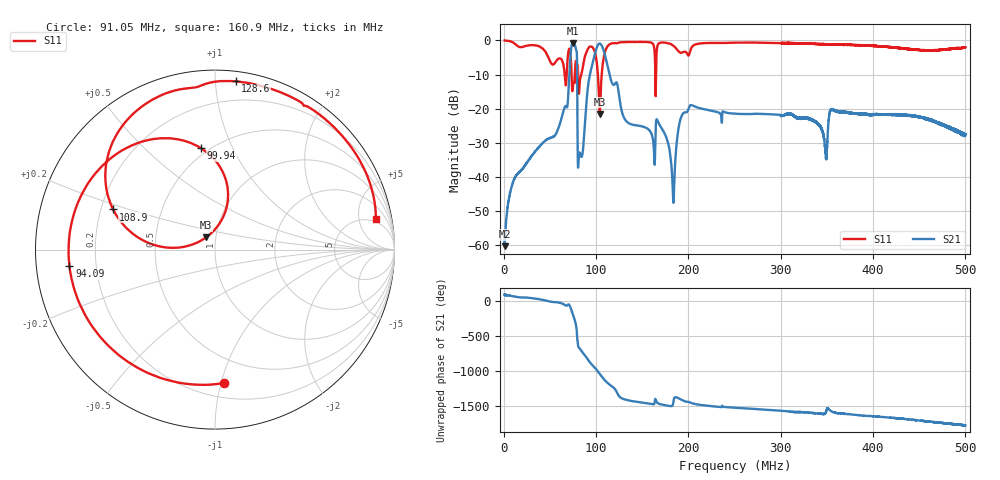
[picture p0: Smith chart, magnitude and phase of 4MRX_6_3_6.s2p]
! NanoVNA-App
! Date: 2026-08-19 15:04:34
! Start: 1MHz Stop: 500MHz Points: 6401
! S-Parameter data: F S11 S21 S12 S22
# Hz S RI R 50
!  Frequency  S11_Real  S11_Imag  S21_Real  S21_Imag  S12_Real  S12_Imag  S22_Real  S22_Imag
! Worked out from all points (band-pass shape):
!   6401 points, 1 MHz to 500 MHz, reference 50 ohm
!   highest |S21| = -0.87 dB at 74.76 MHz (marker M1); lowest = -60.2 dB at 1.156 MHz (marker M2)
!   |S21| within 3 dB of the highest: 72.56 MHz to 79.21 MHz (6.647 MHz wide, 8.76 % of centre); 98.85 MHz to 109.3 MHz (10.43 MHz wide, 10 % of centre)
!   lowest |S11| = -21.5 dB at 104 MHz (marker M3), VSWR 1.18, Z = 44.9 + j6.17 ohm
!   |S11| at or under -10 dB: 73.52 MHz to 77.02 MHz (3.502 MHz wide, 4.65 % of centre); 80.65 MHz to 84.05 MHz (3.399 MHz wide, 4.13 % of centre); 102 MHz to 106.1 MHz (4.148 MHz wide, 3.99 % of centre)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
!   S12 and S22 are empty: the file has one direction only
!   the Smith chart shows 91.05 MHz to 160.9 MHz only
!   S11 on the Smith chart (normalised r, x): 91.05 MHz: 0.30, -1.02; 94.09 MHz: 0.10, -0.06; 99.94 MHz: 0.45, +0.76; 108.9 MHz: 0.25, +0.18; 128.6 MHz: 0.07, +1.13; 160.9 MHz: 4.13, +8.54
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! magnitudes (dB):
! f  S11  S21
! 1 MHz  0.0  -58.5
! 1.156 MHz  0.0  -60.2
! 12.31 MHz  -1.0  -40.1
! 59.32 MHz  -5.4  -25.7
! 74.76 MHz  -14.1  -0.9
! 84.19 MHz  -9.9  -34.1
! 91.05 MHz  -2.5  -14.0
! 94.09 MHz  -1.8  -9.1
! 99.94 MHz  -4.9  -2.8
! 104 MHz  -21.5  -0.9
! 108.9 MHz  -4.3  -3.5
! 128.6 MHz  -0.5  -21.5
! 160.9 MHz  -0.8  -28.1
! 167.4 MHz  -1.0  -24.0
! 183.5 MHz  -1.5  -46.5
! 191 MHz  -3.5  -23.5
! 202.2 MHz  -2.9  -19.0
! 250.5 MHz  -0.6  -21.4
! 333.7 MHz  -1.0  -23.1
! 348.4 MHz  -1.2  -32.3
! 416.9 MHz  -1.9  -21.7
! 500 MHz  -2.0  -27.4
